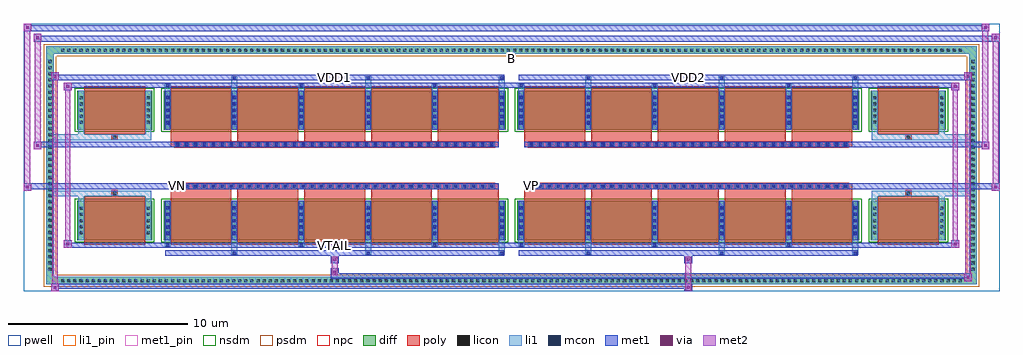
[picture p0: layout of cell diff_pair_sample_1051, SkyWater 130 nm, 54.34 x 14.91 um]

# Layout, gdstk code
import gdstk
lib = gdstk.Library(unit=1e-6, precision=5e-09)
def R(c, l, rs):  # rectangles x0, y0, x1, y1
    for r in rs: c.add(gdstk.rectangle(r[:2], r[2:], *l))
def A(c, l, x, y, w, h, nx, ny, dx, dy):  # array of equal rectangles
    R(c, l, [(x+i*dx, y+j*dy, x+i*dx+w, y+j*dy+h) for i in range(nx) for j in range(ny)])
def P(c, l, *ps):  # polygons
    for p in ps: c.add(gdstk.Polygon(p, *l))
pwell = (64, 44)
diff = (65, 20)
poly = (66, 20)
licon = (66, 44)
li1_pin = (67, 16)
li1 = (67, 20)
mcon = (67, 44)
met1_pin = (68, 16)
met1 = (68, 20)
via = (68, 44)
met2 = (69, 20)
nsdm = (93, 44)
psdm = (94, 20)
npc = (95, 20)

diff_pair_sample_1051 = lib.new_cell('diff_pair_sample_1051')
R(diff_pair_sample_1051, pwell, [(-27.17,-7.02,27.17,7.89), (-24.49,-5.21,-0.01,-0.795), (0.01,-5.21,24.49,-0.795), (-24.49,0.795,-0.01,5.21), (0.01,0.795,24.49,5.21)])
A(diff_pair_sample_1051, diff, -25.195, -6.62, 0.41, 0.41, 148, 2, 0.34, 12.83)
A(diff_pair_sample_1051, diff, -25.9, -5.985, 0.41, 0.41, 1, 35, 0, 0.34)
A(diff_pair_sample_1051, diff, 25.49, -5.985, 0.41, 0.41, 1, 35, 0, 0.34)
R(diff_pair_sample_1051, diff, [(-25.195,-6.62,25.195,-6.21), (-25.9,-5.985,-25.49,5.985), (25.49,-5.985,25.9,5.985), (-24.18,-4.165,-20.01,-1.985), (-19.37,-4.165,-0.32,-1.985), (0.32,-4.165,19.37,-1.985), (20.01,-4.165,24.18,-1.985), (-24.18,1.985,-20.01,4.165), (-19.37,1.985,-0.32,4.165), (0.32,1.985,19.37,4.165), (20.01,1.985,24.18,4.165), (-25.195,6.21,25.195,6.62)])
P(diff_pair_sample_1051, diff, [(25.9,6.62),(-25.9,6.62),(-25.9,-6.21),(-25.49,-6.21),(-25.49,6.21),(25.49,6.21),(25.49,-6.21),(-25.49,-6.21),(-25.9,-6.21),(-25.9,-6.62),(25.9,-6.62)])
A(diff_pair_sample_1051, poly, -18.98, -4.415, 3.39, 2.68, 5, 2, 3.72, 6.15)
A(diff_pair_sample_1051, poly, 0.71, -4.415, 3.39, 2.68, 5, 2, 3.72, 6.15)
A(diff_pair_sample_1051, poly, -18.98, -1.735, 3.39, 0.41, 5, 2, 3.72, 3.06)
A(diff_pair_sample_1051, poly, 0.71, -1.735, 3.39, 0.41, 5, 2, 3.72, 3.06)
A(diff_pair_sample_1051, poly, -18.76, -1.325, 0.33, 0.33, 36, 2, 0.5, 2.32)
A(diff_pair_sample_1051, poly, 0.93, -1.325, 0.33, 0.33, 36, 2, 0.5, 2.32)
R(diff_pair_sample_1051, poly, [(-23.79,-4.415,-20.4,-1.735), (20.4,-4.415,23.79,-1.735), (-22.26,-1.735,-21.93,-1.405), (-22.26,-1.735,-21.93,-1.405), (21.93,-1.735,22.26,-1.405), (21.93,-1.735,22.26,-1.405), (-18.98,-1.325,-0.71,-0.995), (0.71,-1.325,18.98,-0.995), (-18.98,0.995,-0.71,1.325), (0.71,0.995,18.98,1.325), (-22.26,1.405,-21.93,1.735), (-22.26,1.405,-21.93,1.735), (21.93,1.405,22.26,1.735), (21.93,1.405,22.26,1.735), (-23.79,1.735,-20.4,4.415), (20.4,1.735,23.79,4.415)])
A(diff_pair_sample_1051, licon, -25.075, -6.5, 0.17, 0.17, 148, 2, 0.34, 12.83)
A(diff_pair_sample_1051, licon, -25.78, -5.865, 0.17, 0.17, 1, 35, 0, 0.34)
A(diff_pair_sample_1051, licon, 25.61, -5.865, 0.17, 0.17, 1, 35, 0, 0.34)
A(diff_pair_sample_1051, licon, -24.04, -3.84, 0.17, 0.17, 1, 5, 0, 0.34)
A(diff_pair_sample_1051, licon, -20.32, -3.84, 0.17, 0.17, 1, 5, 0, 0.34)
A(diff_pair_sample_1051, licon, -19.23, -3.84, 0.17, 0.17, 6, 5, 3.72, 0.34)
A(diff_pair_sample_1051, licon, 0.46, -3.84, 0.17, 0.17, 6, 5, 3.72, 0.34)
A(diff_pair_sample_1051, licon, 20.15, -3.84, 0.17, 0.17, 1, 5, 0, 0.34)
A(diff_pair_sample_1051, licon, 23.87, -3.84, 0.17, 0.17, 1, 5, 0, 0.34)
A(diff_pair_sample_1051, licon, -18.68, -1.245, 0.17, 0.17, 36, 2, 0.5, 2.32)
A(diff_pair_sample_1051, licon, 1.01, -1.245, 0.17, 0.17, 36, 2, 0.5, 2.32)
A(diff_pair_sample_1051, licon, -24.04, 2.31, 0.17, 0.17, 1, 5, 0, 0.34)
A(diff_pair_sample_1051, licon, -20.32, 2.31, 0.17, 0.17, 1, 5, 0, 0.34)
A(diff_pair_sample_1051, licon, -19.23, 2.31, 0.17, 0.17, 6, 5, 3.72, 0.34)
A(diff_pair_sample_1051, licon, 0.46, 2.31, 0.17, 0.17, 6, 5, 3.72, 0.34)
A(diff_pair_sample_1051, licon, 20.15, 2.31, 0.17, 0.17, 1, 5, 0, 0.34)
A(diff_pair_sample_1051, licon, 23.87, 2.31, 0.17, 0.17, 1, 5, 0, 0.34)
R(diff_pair_sample_1051, licon, [(-22.18,-1.655,-22.01,-1.485), (22.01,-1.655,22.18,-1.485), (-22.18,1.485,-22.01,1.655), (22.01,1.485,22.18,1.655)])
R(diff_pair_sample_1051, li1_pin, [(-0.25,5.71,0.25,6.21)])
A(diff_pair_sample_1051, li1, -25.155, -6.58, 0.33, 0.33, 148, 2, 0.34, 12.83)
A(diff_pair_sample_1051, li1, -25.86, -5.945, 0.33, 0.33, 1, 35, 0, 0.34)
A(diff_pair_sample_1051, li1, 25.53, -5.945, 0.33, 0.33, 1, 35, 0, 0.34)
A(diff_pair_sample_1051, li1, -15.59, -4.97, 0.33, 0.805, 3, 2, 7.44, 9.135)
A(diff_pair_sample_1051, li1, -15.51, -4.97, 0.17, 0.17, 3, 2, 7.44, 9.77)
A(diff_pair_sample_1051, li1, 4.1, -4.97, 0.33, 0.805, 3, 2, 7.44, 9.135)
A(diff_pair_sample_1051, li1, 4.18, -4.97, 0.17, 0.17, 3, 2, 7.44, 9.77)
A(diff_pair_sample_1051, li1, -19.31, -4.54, 0.33, 0.375, 3, 2, 7.44, 8.705)
A(diff_pair_sample_1051, li1, -19.23, -4.54, 0.17, 0.17, 3, 2, 7.44, 8.91)
A(diff_pair_sample_1051, li1, 0.38, -4.54, 0.33, 0.375, 3, 2, 7.44, 8.705)
A(diff_pair_sample_1051, li1, 0.46, -4.54, 0.17, 0.17, 3, 2, 7.44, 8.91)
A(diff_pair_sample_1051, li1, -19.31, -4.165, 0.33, 2.18, 6, 2, 3.72, 6.15)
A(diff_pair_sample_1051, li1, 0.38, -4.165, 0.33, 2.18, 6, 2, 3.72, 6.15)
A(diff_pair_sample_1051, li1, -24.12, -3.92, 0.33, 0.33, 1, 5, 0, 0.34)
A(diff_pair_sample_1051, li1, -20.4, -3.92, 0.33, 0.33, 1, 5, 0, 0.34)
A(diff_pair_sample_1051, li1, -19.31, -3.92, 0.33, 0.33, 6, 5, 3.72, 0.34)
A(diff_pair_sample_1051, li1, 0.38, -3.92, 0.33, 0.33, 6, 5, 3.72, 0.34)
A(diff_pair_sample_1051, li1, 20.07, -3.92, 0.33, 0.33, 1, 5, 0, 0.34)
A(diff_pair_sample_1051, li1, 23.79, -3.92, 0.33, 0.33, 1, 5, 0, 0.34)
A(diff_pair_sample_1051, li1, -19.23, -3.88, 0.17, 0.17, 6, 5, 3.72, 0.36)
A(diff_pair_sample_1051, li1, -19.23, -3.88, 0.17, 1.61, 6, 2, 3.72, 6.15)
A(diff_pair_sample_1051, li1, 0.46, -3.88, 0.17, 0.17, 6, 5, 3.72, 0.36)
A(diff_pair_sample_1051, li1, 0.46, -3.88, 0.17, 1.61, 6, 2, 3.72, 6.15)
A(diff_pair_sample_1051, li1, -18.76, -1.325, 0.33, 0.33, 36, 2, 0.5, 2.32)
A(diff_pair_sample_1051, li1, 0.93, -1.325, 0.33, 0.33, 36, 2, 0.5, 2.32)
A(diff_pair_sample_1051, li1, -24.12, 2.23, 0.33, 0.33, 1, 5, 0, 0.34)
A(diff_pair_sample_1051, li1, -20.4, 2.23, 0.33, 0.33, 1, 5, 0, 0.34)
A(diff_pair_sample_1051, li1, -19.31, 2.23, 0.33, 0.33, 6, 5, 3.72, 0.34)
A(diff_pair_sample_1051, li1, 0.38, 2.23, 0.33, 0.33, 6, 5, 3.72, 0.34)
A(diff_pair_sample_1051, li1, 20.07, 2.23, 0.33, 0.33, 1, 5, 0, 0.34)
A(diff_pair_sample_1051, li1, 23.79, 2.23, 0.33, 0.33, 1, 5, 0, 0.34)
A(diff_pair_sample_1051, li1, -19.23, 2.27, 0.17, 0.17, 6, 5, 3.72, 0.36)
A(diff_pair_sample_1051, li1, 0.46, 2.27, 0.17, 0.17, 6, 5, 3.72, 0.36)
R(diff_pair_sample_1051, li1, [(-25.9,-6.62,-25.49,-6.21), (-25.9,-6.62,-25.49,-6.21), (-25.49,-6.62,25.49,-6.21), (25.49,-6.62,25.9,-6.21), (25.49,-6.62,25.9,-6.21), (-25.9,-6.21,-25.49,6.21), (25.49,-6.21,25.9,6.21), (-24.12,-4.165,-23.79,-1.985), (-20.4,-4.165,-20.07,-1.985), (20.07,-4.165,20.4,-1.985), (23.79,-4.165,24.12,-1.985), (-24.12,-1.985,-23.79,-1.405), (-20.4,-1.985,-20.07,-1.405), (20.07,-1.985,20.4,-1.405), (23.79,-1.985,24.12,-1.405), (-25.9,-1.735,-22.26,-1.405), (-24.12,-1.735,-22.26,-1.405), (-22.26,-1.735,-21.93,-1.405), (-21.93,-1.735,-20.07,-1.405), (20.07,-1.735,21.93,-1.405), (21.93,-1.735,22.26,-1.405), (21.93,-1.735,25.9,-1.405), (22.26,-1.735,24.12,-1.405), (-25.9,1.405,-22.26,1.735), (-24.12,1.405,-22.26,1.735), (-24.12,1.405,-23.79,1.985), (-22.26,1.405,-21.93,1.735), (-21.93,1.405,-20.07,1.735), (-20.4,1.405,-20.07,1.985), (20.07,1.405,21.93,1.735), (20.07,1.405,20.4,1.985), (21.93,1.405,22.26,1.735), (21.93,1.405,25.9,1.735), (22.26,1.405,24.12,1.735), (23.79,1.405,24.12,1.985), (-24.12,1.985,-23.79,4.165), (-20.4,1.985,-20.07,4.165), (20.07,1.985,20.4,4.165), (23.79,1.985,24.12,4.165), (-25.9,6.21,-25.49,6.62), (-25.9,6.21,-25.49,6.62), (-25.49,6.21,25.49,6.62), (25.49,6.21,25.9,6.62), (25.49,6.21,25.9,6.62)])
A(diff_pair_sample_1051, mcon, -15.51, -4.97, 0.17, 0.17, 3, 2, 7.44, 9.77)
A(diff_pair_sample_1051, mcon, 4.18, -4.97, 0.17, 0.17, 3, 2, 7.44, 9.77)
A(diff_pair_sample_1051, mcon, -19.23, -4.54, 0.17, 0.17, 3, 2, 7.44, 8.91)
A(diff_pair_sample_1051, mcon, 0.46, -4.54, 0.17, 0.17, 3, 2, 7.44, 8.91)
A(diff_pair_sample_1051, mcon, -19.23, -3.88, 0.17, 0.17, 6, 5, 3.72, 0.36)
A(diff_pair_sample_1051, mcon, 0.46, -3.88, 0.17, 0.17, 6, 5, 3.72, 0.36)
A(diff_pair_sample_1051, mcon, -18.68, -1.245, 0.17, 0.17, 36, 2, 0.5, 2.32)
A(diff_pair_sample_1051, mcon, 1.01, -1.245, 0.17, 0.17, 36, 2, 0.5, 2.32)
A(diff_pair_sample_1051, mcon, -19.23, 2.27, 0.17, 0.17, 6, 5, 3.72, 0.36)
A(diff_pair_sample_1051, mcon, 0.46, 2.27, 0.17, 0.17, 6, 5, 3.72, 0.36)
R(diff_pair_sample_1051, met1_pin, [(-9.98,-4.58,-9.71,-4.31), (-18.73,-1.285,-18.46,-1.015), (0.96,-1.285,1.23,-1.015), (-9.98,4.76,-9.71,5.03), (9.71,4.76,9.98,5.03)])
A(diff_pair_sample_1051, met1, -15.57, -5.03, 0.29, 0.29, 3, 2, 7.44, 9.77)
A(diff_pair_sample_1051, met1, 4.12, -5.03, 0.29, 0.29, 3, 2, 7.44, 9.77)
A(diff_pair_sample_1051, met1, -19.29, -4.6, 0.29, 0.29, 3, 2, 7.44, 8.91)
A(diff_pair_sample_1051, met1, 0.4, -4.6, 0.29, 0.29, 3, 2, 7.44, 8.91)
A(diff_pair_sample_1051, met1, -19.29, -4.165, 0.29, 2.18, 6, 2, 3.72, 6.15)
A(diff_pair_sample_1051, met1, 0.4, -4.165, 0.29, 2.18, 6, 2, 3.72, 6.15)
A(diff_pair_sample_1051, met1, -19.29, -3.94, 0.29, 0.29, 6, 5, 3.72, 0.36)
A(diff_pair_sample_1051, met1, 0.4, -3.94, 0.29, 0.29, 6, 5, 3.72, 0.36)
A(diff_pair_sample_1051, met1, -18.74, -1.305, 0.29, 0.29, 36, 2, 0.5, 2.32)
A(diff_pair_sample_1051, met1, 0.95, -1.305, 0.29, 0.29, 36, 2, 0.5, 2.32)
A(diff_pair_sample_1051, met1, -19.29, 2.21, 0.29, 0.29, 6, 5, 3.72, 0.36)
A(diff_pair_sample_1051, met1, 0.4, 2.21, 0.29, 0.29, 6, 5, 3.72, 0.36)
R(diff_pair_sample_1051, met1, [(-25.63,-7.02,-25.2,-6.59), (9.63,-7.02,10.06,-6.59), (-25.63,-6.88,10.06,-6.59), (25.2,-6.45,25.63,-6.02), (-10.06,-6.31,25.63,-6.02), (-10.06,-6.17,-9.63,-5.74), (-10.06,-5.46,-9.63,-5.03), (9.63,-5.46,10.06,-5.03), (-19.29,-5.03,-0.4,-4.74), (0.4,-5.03,19.29,-4.74), (-24.92,-4.6,-24.49,-4.17), (-24.92,-4.6,-19.29,-4.31), (-19.29,-4.6,-0.4,-4.31), (-0.4,-4.6,0.4,-4.31), (0.4,-4.6,19.29,-4.31), (19.29,-4.6,24.92,-4.31), (24.49,-4.6,24.92,-4.17), (-27.17,-1.425,-26.74,-0.995), (26.74,-1.425,27.17,-0.995), (-27.17,-1.325,-0.71,-0.995), (-18.98,-1.325,-0.71,-0.995), (0.71,-1.325,18.98,-0.995), (0.71,-1.325,27.17,-0.995), (-26.6,0.895,-26.17,1.325), (26.17,0.895,26.6,1.325), (-26.6,0.995,-18.98,1.325), (-18.98,0.995,-0.71,1.325), (0.71,0.995,18.98,1.325), (18.98,0.995,26.6,1.325), (-24.92,4.17,-24.49,4.6), (24.49,4.17,24.92,4.6), (-24.92,4.31,-19.29,4.6), (-19.29,4.31,-0.4,4.6), (-0.4,4.31,0.4,4.6), (0.4,4.31,19.29,4.6), (19.29,4.31,24.92,4.6), (-25.63,4.74,-25.2,5.17), (-25.63,4.74,-19.29,5.03), (-19.29,4.74,-0.4,5.03), (0.4,4.74,19.29,5.03), (19.29,4.74,25.63,5.03), (25.2,4.74,25.63,5.17), (-26.6,6.89,-26.17,7.32), (-26.6,6.89,-24.49,7.22), (-24.49,6.89,24.49,7.22), (24.49,6.89,27.17,7.22), (26.74,6.89,27.17,7.32), (-27.17,7.46,-26.74,7.89), (-27.17,7.46,-24.49,7.79), (-24.49,7.46,24.49,7.79), (24.49,7.46,26.6,7.79), (26.17,7.46,26.6,7.89)])
R(diff_pair_sample_1051, via, [(-25.49,-6.88,-25.34,-6.73), (9.77,-6.88,9.92,-6.73), (25.34,-6.31,25.49,-6.16), (-9.92,-6.03,-9.77,-5.88), (-9.92,-5.32,-9.77,-5.17), (9.77,-5.32,9.92,-5.17), (-24.78,-4.46,-24.63,-4.31), (24.63,-4.46,24.78,-4.31), (-27.03,-1.285,-26.88,-1.135), (26.88,-1.285,27.03,-1.135), (-26.46,1.035,-26.31,1.185), (26.31,1.035,26.46,1.185), (-24.78,4.31,-24.63,4.46), (24.63,4.31,24.78,4.46), (-25.49,4.88,-25.34,5.03), (25.34,4.88,25.49,5.03), (-26.46,7.03,-26.31,7.18), (26.88,7.03,27.03,7.18), (-27.03,7.6,-26.88,7.75), (26.31,7.6,26.46,7.75)])
R(diff_pair_sample_1051, met2, [(-25.63,-7.02,-25.2,-6.59), (-25.56,-7.02,-25.27,5.17), (-25.27,-7.02,-25.2,-6.59), (-25.58,-6.97,-25.25,-6.64), (9.68,-6.97,10.01,-6.64), (9.68,-6.64,10.01,-5.41), (25.2,-6.45,25.63,-6.02), (25.27,-6.45,25.56,5.17), (25.56,-6.45,25.63,-6.02), (25.25,-6.4,25.58,-6.07), (-10.01,-6.12,-9.68,-5.79), (-10.01,-5.79,-9.68,-5.41), (-10.01,-5.41,-9.68,-5.08), (9.68,-5.41,10.01,-5.08), (-24.92,-4.6,-24.49,-4.17), (-24.85,-4.6,-24.56,4.6), (-24.56,-4.6,-24.49,-4.17), (24.49,-4.6,24.92,-4.17), (24.56,-4.6,24.85,4.6), (24.85,-4.6,24.92,-4.17), (-24.87,-4.55,-24.54,-4.22), (24.54,-4.55,24.87,-4.22), (-27.17,-1.425,-26.74,-0.995), (-27.12,-1.425,-26.79,7.89), (-26.79,-1.425,-26.74,-0.995), (26.74,-1.425,27.17,-0.995), (26.79,-1.425,27.12,7.32), (27.12,-1.425,27.17,-0.995), (-27.12,-1.375,-26.79,-1.045), (26.79,-1.375,27.12,-1.045), (-26.6,0.895,-26.17,1.325), (-26.55,0.895,-26.22,7.32), (-26.22,0.895,-26.17,1.325), (26.17,0.895,26.6,1.325), (26.22,0.895,26.55,7.89), (26.55,0.895,26.6,1.325), (-26.55,0.945,-26.22,1.275), (26.22,0.945,26.55,1.275), (-24.92,4.17,-24.49,4.6), (-24.56,4.17,-24.49,4.6), (24.49,4.17,24.92,4.6), (24.85,4.17,24.92,4.6), (-24.87,4.22,-24.54,4.55), (24.54,4.22,24.87,4.55), (-25.63,4.74,-25.2,5.17), (-25.27,4.74,-25.2,5.17), (25.2,4.74,25.63,5.17), (25.56,4.74,25.63,5.17), (-25.58,4.79,-25.25,5.12), (25.25,4.79,25.58,5.12), (-26.6,6.89,-26.17,7.32), (-26.22,6.89,-26.17,7.32), (26.74,6.89,27.17,7.32), (27.12,6.89,27.17,7.32), (-26.55,6.94,-26.22,7.27), (26.79,6.94,27.12,7.27), (-27.17,7.46,-26.74,7.89), (-26.79,7.46,-26.74,7.89), (26.17,7.46,26.6,7.89), (26.55,7.46,26.6,7.89), (-27.12,7.51,-26.79,7.84), (26.22,7.51,26.55,7.84)])
R(diff_pair_sample_1051, nsdm, [(-24.31,-4.295,-19.88,-1.855), (-19.5,-4.295,-0.19,-1.855), (0.19,-4.295,19.5,-1.855), (19.88,-4.295,24.31,-1.855), (-24.31,1.855,-19.88,4.295), (-19.5,1.855,-0.19,4.295), (0.19,1.855,19.5,4.295), (19.88,1.855,24.31,4.295)])
P(diff_pair_sample_1051, psdm, [(26.03,6.75),(-26.03,6.75),(-26.03,-6.08),(-25.36,-6.08),(-25.36,6.08),(25.36,6.08),(25.36,-6.08),(-25.36,-6.08),(-26.03,-6.08),(-26.03,-6.75),(26.03,-6.75)])
A(diff_pair_sample_1051, npc, -18.78, -1.345, 0.37, 0.37, 36, 2, 0.5, 2.32)
A(diff_pair_sample_1051, npc, 0.91, -1.345, 0.37, 0.37, 36, 2, 0.5, 2.32)
R(diff_pair_sample_1051, npc, [(-22.28,-1.755,-21.91,-1.385), (21.91,-1.755,22.28,-1.385), (-18.78,-1.345,-17.91,-0.975), (-18.78,-1.345,-17.91,-0.975), (-18.28,-1.345,-17.41,-0.975), (-18.28,-1.345,-17.41,-0.975), (-17.78,-1.345,-16.91,-0.975), (-17.78,-1.345,-16.91,-0.975), (-17.28,-1.345,-16.41,-0.975), (-17.28,-1.345,-16.41,-0.975), (-16.78,-1.345,-15.91,-0.975), (-16.78,-1.345,-15.91,-0.975), (-16.28,-1.345,-15.41,-0.975), (-16.28,-1.345,-15.41,-0.975), (-15.78,-1.345,-14.91,-0.975), (-15.78,-1.345,-14.91,-0.975), (-15.28,-1.345,-14.41,-0.975), (-15.28,-1.345,-14.41,-0.975), (-14.78,-1.345,-13.91,-0.975), (-14.78,-1.345,-13.91,-0.975), (-14.28,-1.345,-13.41,-0.975), (-14.28,-1.345,-13.41,-0.975), (-13.78,-1.345,-12.91,-0.975), (-13.78,-1.345,-12.91,-0.975), (-13.28,-1.345,-12.41,-0.975), (-13.28,-1.345,-12.41,-0.975), (-12.78,-1.345,-11.91,-0.975), (-12.78,-1.345,-11.91,-0.975), (-12.28,-1.345,-11.41,-0.975), (-12.28,-1.345,-11.41,-0.975), (-11.78,-1.345,-10.91,-0.975), (-11.78,-1.345,-10.91,-0.975), (-11.28,-1.345,-10.41,-0.975), (-11.28,-1.345,-10.41,-0.975), (-10.78,-1.345,-9.91,-0.975), (-10.78,-1.345,-9.91,-0.975), (-10.28,-1.345,-9.41,-0.975), (-10.28,-1.345,-9.41,-0.975), (-9.78,-1.345,-8.91,-0.975), (-9.78,-1.345,-8.91,-0.975), (-9.28,-1.345,-8.41,-0.975), (-9.28,-1.345,-8.41,-0.975), (-8.78,-1.345,-7.91,-0.975), (-8.78,-1.345,-7.91,-0.975), (-8.28,-1.345,-7.41,-0.975), (-8.28,-1.345,-7.41,-0.975), (-7.78,-1.345,-6.91,-0.975), (-7.78,-1.345,-6.91,-0.975), (-7.28,-1.345,-6.41,-0.975), (-7.28,-1.345,-6.41,-0.975), (-6.78,-1.345,-5.91,-0.975), (-6.78,-1.345,-5.91,-0.975), (-6.28,-1.345,-5.41,-0.975), (-6.28,-1.345,-5.41,-0.975), (-5.78,-1.345,-4.91,-0.975), (-5.78,-1.345,-4.91,-0.975), (-5.28,-1.345,-4.41,-0.975), (-5.28,-1.345,-4.41,-0.975), (-4.78,-1.345,-3.91,-0.975), (-4.78,-1.345,-3.91,-0.975), (-4.28,-1.345,-3.41,-0.975), (-4.28,-1.345,-3.41,-0.975), (-3.78,-1.345,-2.91,-0.975), (-3.78,-1.345,-2.91,-0.975), (-3.28,-1.345,-2.41,-0.975), (-3.28,-1.345,-2.41,-0.975), (-2.78,-1.345,-1.91,-0.975), (-2.78,-1.345,-1.91,-0.975), (-2.28,-1.345,-1.41,-0.975), (-2.28,-1.345,-1.41,-0.975), (-1.78,-1.345,-0.91,-0.975), (-1.78,-1.345,-0.91,-0.975), (0.91,-1.345,1.78,-0.975), (0.91,-1.345,1.78,-0.975), (1.41,-1.345,2.28,-0.975), (1.41,-1.345,2.28,-0.975), (1.91,-1.345,2.78,-0.975), (1.91,-1.345,2.78,-0.975), (2.41,-1.345,3.28,-0.975), (2.41,-1.345,3.28,-0.975), (2.91,-1.345,3.78,-0.975), (2.91,-1.345,3.78,-0.975), (3.41,-1.345,4.28,-0.975), (3.41,-1.345,4.28,-0.975), (3.91,-1.345,4.78,-0.975), (3.91,-1.345,4.78,-0.975), (4.41,-1.345,5.28,-0.975), (4.41,-1.345,5.28,-0.975), (4.91,-1.345,5.78,-0.975), (4.91,-1.345,5.78,-0.975), (5.41,-1.345,6.28,-0.975), (5.41,-1.345,6.28,-0.975), (5.91,-1.345,6.78,-0.975), (5.91,-1.345,6.78,-0.975), (6.41,-1.345,7.28,-0.975), (6.41,-1.345,7.28,-0.975), (6.91,-1.345,7.78,-0.975), (6.91,-1.345,7.78,-0.975), (7.41,-1.345,8.28,-0.975), (7.41,-1.345,8.28,-0.975), (7.91,-1.345,8.78,-0.975), (7.91,-1.345,8.78,-0.975), (8.41,-1.345,9.28,-0.975), (8.41,-1.345,9.28,-0.975), (8.91,-1.345,9.78,-0.975), (8.91,-1.345,9.78,-0.975), (9.41,-1.345,10.28,-0.975), (9.41,-1.345,10.28,-0.975), (9.91,-1.345,10.78,-0.975), (9.91,-1.345,10.78,-0.975), (10.41,-1.345,11.28,-0.975), (10.41,-1.345,11.28,-0.975), (10.91,-1.345,11.78,-0.975), (10.91,-1.345,11.78,-0.975), (11.41,-1.345,12.28,-0.975), (11.41,-1.345,12.28,-0.975), (11.91,-1.345,12.78,-0.975), (11.91,-1.345,12.78,-0.975), (12.41,-1.345,13.28,-0.975), (12.41,-1.345,13.28,-0.975), (12.91,-1.345,13.78,-0.975), (12.91,-1.345,13.78,-0.975), (13.41,-1.345,14.28,-0.975), (13.41,-1.345,14.28,-0.975), (13.91,-1.345,14.78,-0.975), (13.91,-1.345,14.78,-0.975), (14.41,-1.345,15.28,-0.975), (14.41,-1.345,15.28,-0.975), (14.91,-1.345,15.78,-0.975), (14.91,-1.345,15.78,-0.975), (15.41,-1.345,16.28,-0.975), (15.41,-1.345,16.28,-0.975), (15.91,-1.345,16.78,-0.975), (15.91,-1.345,16.78,-0.975), (16.41,-1.345,17.28,-0.975), (16.41,-1.345,17.28,-0.975), (16.91,-1.345,17.78,-0.975), (16.91,-1.345,17.78,-0.975), (17.41,-1.345,18.28,-0.975), (17.41,-1.345,18.28,-0.975), (17.91,-1.345,18.78,-0.975), (17.91,-1.345,18.78,-0.975), (-18.78,0.975,-17.91,1.345), (-18.78,0.975,-17.91,1.345), (-18.28,0.975,-17.41,1.345), (-18.28,0.975,-17.41,1.345), (-17.78,0.975,-16.91,1.345), (-17.78,0.975,-16.91,1.345), (-17.28,0.975,-16.41,1.345), (-17.28,0.975,-16.41,1.345), (-16.78,0.975,-15.91,1.345), (-16.78,0.975,-15.91,1.345), (-16.28,0.975,-15.41,1.345), (-16.28,0.975,-15.41,1.345), (-15.78,0.975,-14.91,1.345), (-15.78,0.975,-14.91,1.345), (-15.28,0.975,-14.41,1.345), (-15.28,0.975,-14.41,1.345), (-14.78,0.975,-13.91,1.345), (-14.78,0.975,-13.91,1.345), (-14.28,0.975,-13.41,1.345), (-14.28,0.975,-13.41,1.345), (-13.78,0.975,-12.91,1.345), (-13.78,0.975,-12.91,1.345), (-13.28,0.975,-12.41,1.345), (-13.28,0.975,-12.41,1.345), (-12.78,0.975,-11.91,1.345), (-12.78,0.975,-11.91,1.345), (-12.28,0.975,-11.41,1.345), (-12.28,0.975,-11.41,1.345), (-11.78,0.975,-10.91,1.345), (-11.78,0.975,-10.91,1.345), (-11.28,0.975,-10.41,1.345), (-11.28,0.975,-10.41,1.345), (-10.78,0.975,-9.91,1.345), (-10.78,0.975,-9.91,1.345), (-10.28,0.975,-9.41,1.345), (-10.28,0.975,-9.41,1.345), (-9.78,0.975,-8.91,1.345), (-9.78,0.975,-8.91,1.345), (-9.28,0.975,-8.41,1.345), (-9.28,0.975,-8.41,1.345), (-8.78,0.975,-7.91,1.345), (-8.78,0.975,-7.91,1.345), (-8.28,0.975,-7.41,1.345), (-8.28,0.975,-7.41,1.345), (-7.78,0.975,-6.91,1.345), (-7.78,0.975,-6.91,1.345), (-7.28,0.975,-6.41,1.345), (-7.28,0.975,-6.41,1.345), (-6.78,0.975,-5.91,1.345), (-6.78,0.975,-5.91,1.345), (-6.28,0.975,-5.41,1.345), (-6.28,0.975,-5.41,1.345), (-5.78,0.975,-4.91,1.345), (-5.78,0.975,-4.91,1.345), (-5.28,0.975,-4.41,1.345), (-5.28,0.975,-4.41,1.345), (-4.78,0.975,-3.91,1.345), (-4.78,0.975,-3.91,1.345), (-4.28,0.975,-3.41,1.345), (-4.28,0.975,-3.41,1.345), (-3.78,0.975,-2.91,1.345), (-3.78,0.975,-2.91,1.345), (-3.28,0.975,-2.41,1.345), (-3.28,0.975,-2.41,1.345), (-2.78,0.975,-1.91,1.345), (-2.78,0.975,-1.91,1.345), (-2.28,0.975,-1.41,1.345), (-2.28,0.975,-1.41,1.345), (-1.78,0.975,-0.91,1.345), (-1.78,0.975,-0.91,1.345), (0.91,0.975,1.78,1.345), (0.91,0.975,1.78,1.345), (1.41,0.975,2.28,1.345), (1.41,0.975,2.28,1.345), (1.91,0.975,2.78,1.345), (1.91,0.975,2.78,1.345), (2.41,0.975,3.28,1.345), (2.41,0.975,3.28,1.345), (2.91,0.975,3.78,1.345), (2.91,0.975,3.78,1.345), (3.41,0.975,4.28,1.345), (3.41,0.975,4.28,1.345), (3.91,0.975,4.78,1.345), (3.91,0.975,4.78,1.345), (4.41,0.975,5.28,1.345), (4.41,0.975,5.28,1.345), (4.91,0.975,5.78,1.345), (4.91,0.975,5.78,1.345), (5.41,0.975,6.28,1.345), (5.41,0.975,6.28,1.345), (5.91,0.975,6.78,1.345), (5.91,0.975,6.78,1.345), (6.41,0.975,7.28,1.345), (6.41,0.975,7.28,1.345), (6.91,0.975,7.78,1.345), (6.91,0.975,7.78,1.345), (7.41,0.975,8.28,1.345), (7.41,0.975,8.28,1.345), (7.91,0.975,8.78,1.345), (7.91,0.975,8.78,1.345), (8.41,0.975,9.28,1.345), (8.41,0.975,9.28,1.345), (8.91,0.975,9.78,1.345), (8.91,0.975,9.78,1.345), (9.41,0.975,10.28,1.345), (9.41,0.975,10.28,1.345), (9.91,0.975,10.78,1.345), (9.91,0.975,10.78,1.345), (10.41,0.975,11.28,1.345), (10.41,0.975,11.28,1.345), (10.91,0.975,11.78,1.345), (10.91,0.975,11.78,1.345), (11.41,0.975,12.28,1.345), (11.41,0.975,12.28,1.345), (11.91,0.975,12.78,1.345), (11.91,0.975,12.78,1.345), (12.41,0.975,13.28,1.345), (12.41,0.975,13.28,1.345), (12.91,0.975,13.78,1.345), (12.91,0.975,13.78,1.345), (13.41,0.975,14.28,1.345), (13.41,0.975,14.28,1.345), (13.91,0.975,14.78,1.345), (13.91,0.975,14.78,1.345), (14.41,0.975,15.28,1.345), (14.41,0.975,15.28,1.345), (14.91,0.975,15.78,1.345), (14.91,0.975,15.78,1.345), (15.41,0.975,16.28,1.345), (15.41,0.975,16.28,1.345), (15.91,0.975,16.78,1.345), (15.91,0.975,16.78,1.345), (16.41,0.975,17.28,1.345), (16.41,0.975,17.28,1.345), (16.91,0.975,17.78,1.345), (16.91,0.975,17.78,1.345), (17.41,0.975,18.28,1.345), (17.41,0.975,18.28,1.345), (17.91,0.975,18.78,1.345), (17.91,0.975,18.78,1.345), (-22.28,1.385,-21.91,1.755), (21.91,1.385,22.28,1.755)])
diff_pair_sample_1051.add(gdstk.Label('VTAIL', (-9.845,-4.445), layer=68, texttype=5))
diff_pair_sample_1051.add(gdstk.Label('VN', (-18.595,-1.15), layer=68, texttype=5))
diff_pair_sample_1051.add(gdstk.Label('VP', (1.095,-1.15), layer=68, texttype=5))
diff_pair_sample_1051.add(gdstk.Label('B', (0,5.96), layer=67, texttype=5))
diff_pair_sample_1051.add(gdstk.Label('VDD2', (9.845,4.895), layer=68, texttype=5))
diff_pair_sample_1051.add(gdstk.Label('VDD1', (-9.845,4.895), layer=68, texttype=5))

lib.write_gds('diff_pair_sample_1051.gds')
